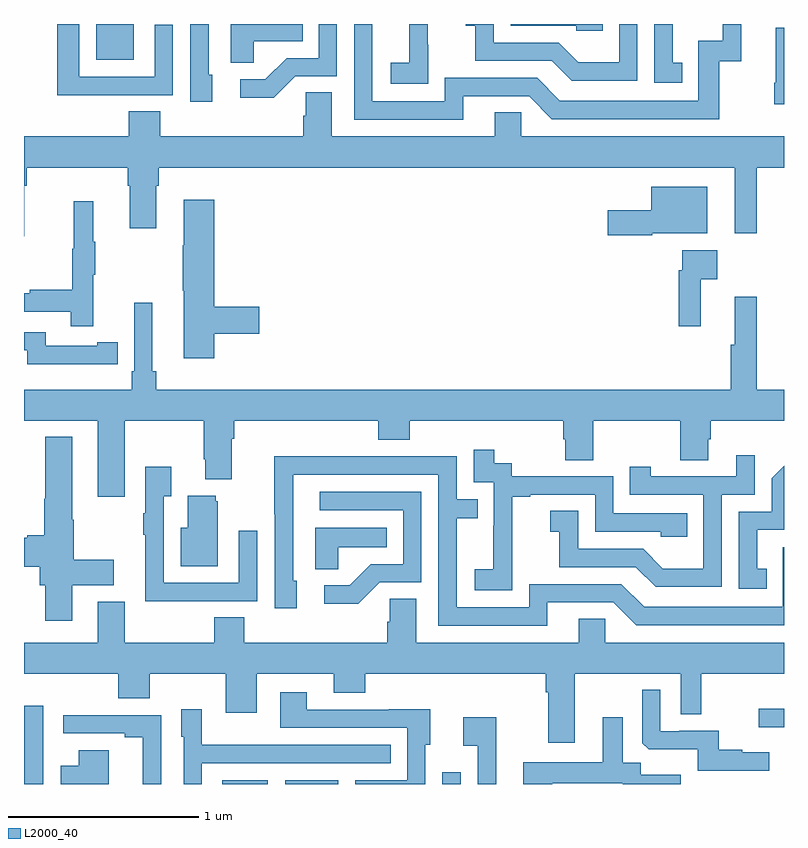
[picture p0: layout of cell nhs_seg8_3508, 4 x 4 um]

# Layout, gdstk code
import gdstk
lib = gdstk.Library(unit=1e-6, precision=1e-09)
def R(c, l, rs):  # rectangles x0, y0, x1, y1
    for r in rs: c.add(gdstk.rectangle(r[:2], r[2:], *l))
def P(c, l, *ps):  # polygons
    for p in ps: c.add(gdstk.Polygon(p, *l))
L2000_40 = (2000, 40)

nhs_seg8_3508 = lib.new_cell('nhs_seg8_3508')
R(nhs_seg8_3508, L2000_40, [(327,1135.9,327.1,1136.311), (328.043,1135.9,328.282,1135.921), (328.376,1135.9,328.654,1135.921), (329.202,1135.9,329.298,1135.963), (330.867,1136.198,331,1136.297), (327.38,1139.711,327.577,1139.9)])
P(nhs_seg8_3508, L2000_40, [(330.047,1139.9),(329.562,1139.9),(329.562,1139.892),(329.907,1139.892),(329.907,1139.865),(330.047,1139.865)],
  [(329.311,1139.52),(329.658,1139.52),(329.778,1139.4),(330.658,1139.4),(330.658,1139.703),(330.776,1139.703),(330.776,1139.9),(330.678,1139.9),(330.678,1139.811),(330.549,1139.811),(330.549,1139.496),(329.82,1139.496),(329.7,1139.616),(329.214,1139.616),(329.214,1139.493),(328.833,1139.493),(328.833,1139.9),(328.737,1139.9),(328.737,1139.397),(329.311,1139.397)],
  [(327.991,1139.634),(327.972,1139.634),(327.972,1139.9),(327.876,1139.9),(327.876,1139.49),(327.991,1139.49)],
  [(328.428,1139.625),(328.647,1139.625),(328.647,1139.9),(328.551,1139.9),(328.551,1139.721),(328.382,1139.721),(328.271,1139.61),(328.137,1139.61),(328.137,1139.513),(328.315,1139.513)],
  [(327.467,1139.526),(327.783,1139.526),(327.783,1139.896),(327.687,1139.896),(327.687,1139.622),(327.291,1139.622),(327.291,1139.9),(327.175,1139.9),(327.175,1139.525),(327.467,1139.525)],
  [(330.464,1139.697),(330.415,1139.697),(330.415,1139.9),(330.318,1139.9),(330.318,1139.592),(330.464,1139.592)],
  [(329.127,1139.791),(329.126,1139.791),(329.126,1139.9),(329.027,1139.9),(329.027,1139.695),(328.929,1139.695),(328.929,1139.585),(329.127,1139.585)],
  [(328.209,1139.81),(328.466,1139.81),(328.466,1139.9),(328.088,1139.9),(328.088,1139.695),(328.209,1139.695)],
  [(330.228,1139.9),(330.132,1139.9),(330.132,1139.698),(329.918,1139.698),(329.814,1139.802),(329.472,1139.802),(329.472,1139.9),(329.325,1139.9),(329.325,1139.891),(329.374,1139.891),(329.374,1139.706),(329.777,1139.706),(329.882,1139.601),(330.228,1139.601)],
  [(331,1139.881),(330.956,1139.881),(330.956,1139.59),(330.949,1139.59),(330.949,1139.478),(331,1139.478)],
  [(327.001,1139.048),(327.014,1139.048),(327.014,1139.144),(327.545,1139.144),(327.545,1139.048),(327.557,1139.048),(327.557,1138.824),(327.697,1138.824),(327.697,1139.048),(327.71,1139.048),(327.71,1139.144),(330.74,1139.144),(330.74,1138.8),(330.857,1138.8),(330.857,1139.144),(331,1139.144),(331,1139.308),(329.616,1139.308),(329.616,1139.435),(329.477,1139.435),(329.477,1139.308),(328.621,1139.308),(328.621,1139.54),(328.482,1139.54),(328.482,1139.417),(328.469,1139.417),(328.469,1139.308),(327.716,1139.308),(327.716,1139.441),(327.551,1139.441),(327.551,1139.308),(327,1139.308),(327,1138.782),(327.001,1138.782)],
  [(330.306,1138.799),(330.595,1138.799),(330.595,1139.044),(330.302,1139.044),(330.302,1138.921),(330.072,1138.921),(330.072,1138.787),(330.306,1138.787)],
  [(328.001,1138.27),(328.237,1138.27),(328.237,1138.412),(328.001,1138.412),(328.001,1138.975),(327.842,1138.975),(327.842,1138.736),(327.835,1138.736),(327.835,1138.495),(327.842,1138.495),(327.842,1138.14),(328.001,1138.14)],
  [(327.365,1138.579),(327.376,1138.579),(327.376,1138.753),(327.365,1138.753),(327.365,1138.966),(327.262,1138.966),(327.262,1138.716),(327.255,1138.716),(327.255,1138.502),(327.031,1138.502),(327.031,1138.482),(327,1138.482),(327,1138.386),(327.247,1138.386),(327.247,1138.308),(327.365,1138.308)],
  [(330.563,1138.556),(330.649,1138.556),(330.649,1138.708),(330.465,1138.708),(330.465,1138.604),(330.445,1138.604),(330.445,1138.308),(330.563,1138.308)],
  [(327.695,1138.072),(327.676,1138.072),(327.676,1138.432),(327.579,1138.432),(327.579,1138.072),(327.566,1138.072),(327.566,1137.976),(327,1137.976),(327,1137.812),(327.389,1137.812),(327.389,1137.411),(327.529,1137.411),(327.529,1137.812),(327.946,1137.812),(327.946,1137.61),(327.953,1137.61),(327.953,1137.503),(328.093,1137.503),(328.093,1137.716),(328.106,1137.716),(328.106,1137.812),(328.865,1137.812),(328.865,1137.713),(329.03,1137.713),(329.03,1137.812),(329.837,1137.812),(329.837,1137.714),(329.849,1137.714),(329.849,1137.604),(329.997,1137.604),(329.997,1137.812),(330.454,1137.812),(330.454,1137.604),(330.601,1137.604),(330.601,1137.714),(330.614,1137.714),(330.614,1137.812),(331,1137.812),(331,1137.976),(330.857,1137.976),(330.857,1138.465),(330.74,1138.465),(330.74,1138.212),(330.721,1138.212),(330.721,1137.976),(327.695,1137.976)],
  [(327.386,1138.11),(327.494,1138.11),(327.494,1138.226),(327.386,1138.226),(327.386,1138.206),(327.114,1138.206),(327.114,1138.278),(327,1138.278),(327,1138.182),(327.018,1138.182),(327.018,1138.109),(327.386,1138.109)],
  [(327.253,1136.945),(327.472,1136.945),(327.472,1137.08),(327.261,1137.08),(327.261,1137.292),(327.253,1137.292),(327.253,1137.727),(327.113,1137.727),(327.113,1137.401),(327.106,1137.401),(327.106,1137.209),(327.017,1137.209),(327.017,1137.196),(327,1137.196),(327,1137.044),(327.083,1137.044),(327.083,1136.945),(327.113,1136.945),(327.113,1136.76),(327.253,1136.76)],
  [(329.571,1137.127),(329.57,1137.127),(329.57,1137.411),(329.665,1137.411),(329.665,1137.423),(330.006,1137.423),(330.006,1137.228),(330.351,1137.228),(330.351,1137.201),(330.491,1137.201),(330.491,1137.324),(330.102,1137.324),(330.102,1137.519),(329.568,1137.519),(329.568,1137.588),(329.476,1137.588),(329.476,1137.658),(329.367,1137.658),(329.367,1137.489),(329.472,1137.489),(329.472,1137.26),(329.471,1137.26),(329.471,1137.031),(329.373,1137.031),(329.373,1136.921),(329.571,1136.921)],
  [(330.672,1137.423),(330.846,1137.423),(330.846,1137.631),(330.749,1137.631),(330.749,1137.519),(330.298,1137.519),(330.298,1137.571),(330.187,1137.571),(330.187,1137.423),(330.576,1137.423),(330.576,1137.034),(330.362,1137.034),(330.258,1137.138),(329.916,1137.138),(329.916,1137.337),(329.769,1137.337),(329.769,1137.227),(329.818,1137.227),(329.818,1137.042),(330.221,1137.042),(330.326,1136.937),(330.672,1136.937)],
  [(329.755,1136.856),(330.102,1136.856),(330.222,1136.736),(331,1136.736),(331,1137.147),(330.993,1137.147),(330.993,1136.832),(330.264,1136.832),(330.144,1136.952),(329.658,1136.952),(329.658,1136.829),(329.277,1136.829),(329.277,1137.298),(329.387,1137.298),(329.387,1137.399),(329.277,1137.399),(329.277,1137.624),(328.781,1137.624),(328.781,1137.626),(328.318,1137.626),(328.318,1137.319),(328.32,1137.319),(328.32,1136.826),(328.435,1136.826),(328.435,1136.97),(328.416,1136.97),(328.416,1137.528),(329.181,1137.528),(329.181,1136.733),(329.755,1136.733)],
  [(330.908,1137.033),(330.859,1137.033),(330.859,1137.237),(331,1137.237),(331,1137.574),(330.936,1137.51),(330.936,1137.333),(330.762,1137.333),(330.762,1136.928),(330.908,1136.928)],
  [(327.911,1136.862),(328.227,1136.862),(328.227,1137.232),(328.131,1137.232),(328.131,1136.958),(327.735,1136.958),(327.735,1137.415),(327.775,1137.415),(327.775,1137.571),(327.639,1137.571),(327.639,1137.326),(327.627,1137.326),(327.627,1137.212),(327.638,1137.212),(327.638,1136.861),(327.911,1136.861)],
  [(328.872,1136.961),(329.091,1136.961),(329.091,1137.438),(328.557,1137.438),(328.557,1137.342),(328.995,1137.342),(328.995,1137.057),(328.826,1137.057),(328.715,1136.946),(328.581,1136.946),(328.581,1136.849),(328.759,1136.849)],
  [(328.021,1137.387),(328.01,1137.387),(328.01,1137.418),(327.863,1137.418),(327.863,1137.25),(327.824,1137.25),(327.824,1137.047),(328.021,1137.047)],
  [(328.653,1137.146),(328.91,1137.146),(328.91,1137.25),(328.532,1137.25),(328.532,1137.031),(328.653,1137.031)],
  [(329.899,1136.48),(330.456,1136.48),(330.456,1136.266),(330.565,1136.266),(330.565,1136.48),(331,1136.48),(331,1136.644),(330.06,1136.644),(330.06,1136.771),(329.921,1136.771),(329.921,1136.644),(329.065,1136.644),(329.065,1136.876),(328.926,1136.876),(328.926,1136.753),(328.913,1136.753),(328.913,1136.644),(328.16,1136.644),(328.16,1136.777),(328,1136.777),(328,1136.644),(327.529,1136.644),(327.529,1136.86),(327.389,1136.86),(327.389,1136.644),(327,1136.644),(327,1136.48),(327.497,1136.48),(327.497,1136.352),(327.661,1136.352),(327.661,1136.48),(328.061,1136.48),(328.061,1136.274),(328.225,1136.274),(328.225,1136.48),(328.631,1136.48),(328.631,1136.381),(328.795,1136.381),(328.795,1136.48),(329.747,1136.48),(329.747,1136.384),(329.759,1136.384),(329.759,1136.118),(329.899,1136.118)],
  [(330.923,1136.068),(330.779,1136.068),(330.779,1136.08),(330.656,1136.08),(330.656,1136.181),(330.448,1136.181),(330.448,1136.178),(330.348,1136.178),(330.348,1136.395),(330.255,1136.395),(330.255,1136.115),(330.287,1136.084),(330.546,1136.084),(330.546,1135.971),(330.923,1135.971)],
  [(329.112,1136.106),(329.137,1136.106),(329.137,1136.294),(328.919,1136.294),(328.919,1136.292),(328.489,1136.292),(328.489,1136.383),(328.349,1136.383),(328.349,1136.196),(329.016,1136.196),(329.016,1135.92),(328.743,1135.92),(328.743,1135.9),(329.112,1135.9)],
  [(327.936,1136.01),(328.931,1136.01),(328.931,1136.106),(328.253,1136.106),(328.253,1136.107),(327.936,1136.107),(327.936,1136.293),(327.827,1136.293),(327.827,1136.148),(327.84,1136.148),(327.84,1135.9),(327.936,1135.9)],
  [(327.723,1136.262),(327.207,1136.262),(327.207,1136.166),(327.53,1136.166),(327.53,1136.146),(327.626,1136.146),(327.626,1135.9),(327.723,1135.9)],
  [(329.779,1135.904),(330.15,1135.904),(330.15,1135.9),(330.457,1135.9),(330.457,1135.948),(330.246,1135.948),(330.246,1136.012),(330.151,1136.012),(330.151,1136.251),(330.047,1136.251),(330.047,1136.014),(329.627,1136.014),(329.627,1135.9),(329.779,1135.9)],
  [(329.485,1136.251),(329.313,1136.251),(329.313,1136.102),(329.388,1136.102),(329.388,1135.9),(329.485,1135.9)],
  [(327.445,1136.077),(327.287,1136.077),(327.287,1135.996),(327.194,1135.996),(327.194,1135.9),(327.445,1135.9)])

lib.write_gds('nhs_seg8_3508.gds')
